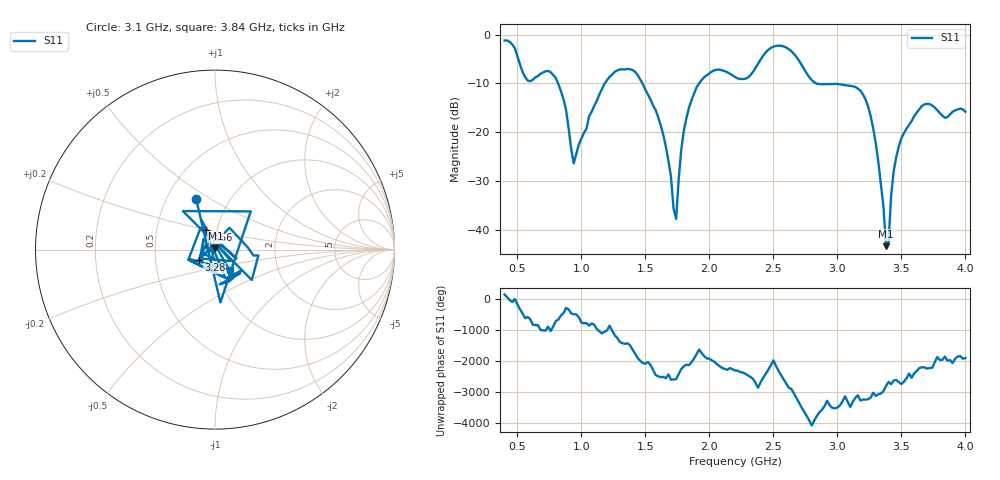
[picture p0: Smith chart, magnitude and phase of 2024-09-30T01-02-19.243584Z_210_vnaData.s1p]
!Created with skrf (http://scikit-rf.org).
# Hz S RI R 50.0
!freq ReS11 ImS11
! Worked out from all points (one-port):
!   181 points, 400 MHz to 4 GHz, reference 50 ohm
!   lowest |S11| = -43.4 dB at 3.38 GHz (marker M1), VSWR 1.01, Z = 50.2 + j0.651 ohm
!   |S11| at or under -10 dB: 817.9 MHz to 1.182 GHz (364.5 MHz wide, 36.4 % of centre); 1.477 GHz to 1.92 GHz (442.8 MHz wide, 26.1 % of centre); 2.836 GHz to end of sweep
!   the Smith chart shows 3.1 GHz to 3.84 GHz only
!   S11 on the Smith chart (normalised r, x): 3.1 GHz: 0.70, +0.43; 3.28 GHz: 0.83, -0.10; 3.56 GHz: 0.88, +0.19; 3.84 GHz: 1.15, -0.27
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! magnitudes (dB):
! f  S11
! 400 MHz  -1.2
! 580 MHz  -9.4
! 760 MHz  -7.7
! 860 MHz  -13.2
! 940 MHz  -26.4
! 1.18 GHz  -10.1
! 1.3 GHz  -7.1
! 1.58 GHz  -15.5
! 1.66 GHz  -23.0
! 1.74 GHz  -37.8
! 1.76 GHz  -29.7
! 1.8 GHz  -19.7
! 1.9 GHz  -10.8
! 2.2 GHz  -8.7
! 2.5 GHz  -2.4
! 2.66 GHz  -3.9
! 2.82 GHz  -9.8
! 3.1 GHz  -10.5
! 3.28 GHz  -19.2
! 3.36 GHz  -35.4
! 3.38 GHz  -43.4
! 3.4 GHz  -42.5
! 3.42 GHz  -32.9
! 3.46 GHz  -25.1
! 3.56 GHz  -18.5
! 3.68 GHz  -14.3
! 3.84 GHz  -17.0
! 4 GHz  -15.8
